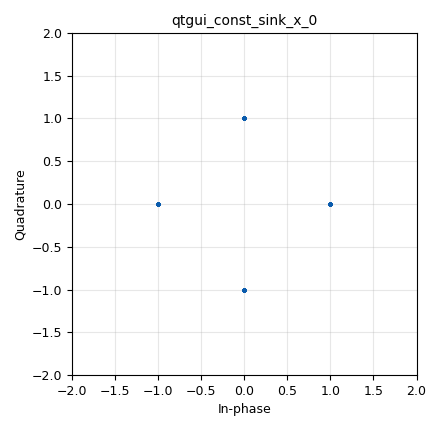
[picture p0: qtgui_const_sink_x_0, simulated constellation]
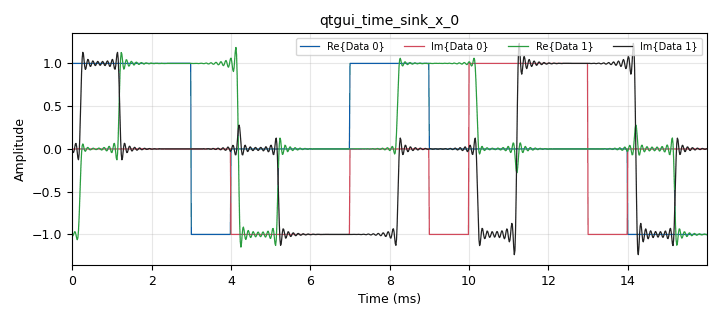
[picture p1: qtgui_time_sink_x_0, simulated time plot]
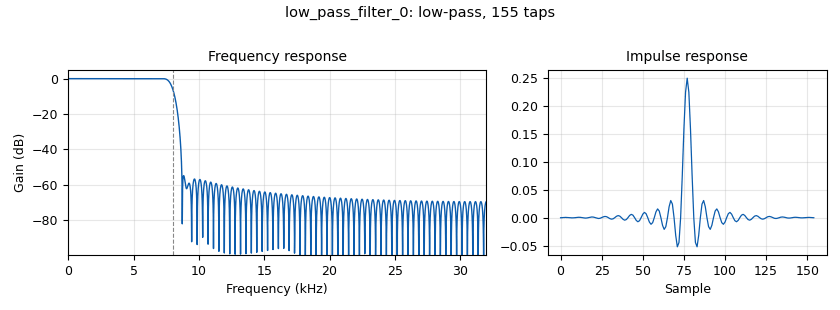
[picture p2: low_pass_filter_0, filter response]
options:
  parameters:
    author: ayyou
    generate_options: qt_gui
    id: PSK(Phase_shift_keying)
    output_language: python
    title: Not titled yet
  states: {}

blocks:
- name: Delay
  id: variable_qtgui_range
  parameters:
    label: Delay of input
    start: '0'
    step: '1'
    stop: '100'
    value: '0'
  states: {}
- name: N
  id: variable
  parameters:
    value: '4'
  states: {}
- name: carrier_frequency
  id: variable
  parameters:
    value: '8000'
  states: {}
- name: interpolating_factor
  id: variable
  parameters:
    value: samp_rate//1000
  states: {}
- name: samp_rate
  id: variable
  parameters:
    value: '64000'
  states: {}
- name: analog_random_source_x_0
  id: analog_random_source_x
  parameters:
    max: N
    min: '0'
    num_samps: '1024'
    repeat: 'True'
    type: int
  states: {}
- name: analog_sig_source_x_0
  id: analog_sig_source_x
  parameters:
    amp: '1.414213562'
    freq: carrier_frequency
    offset: '0'
    phase: '0'
    samp_rate: samp_rate
    type: complex
    waveform: analog.GR_COS_WAVE
  states: {}
- name: analog_sig_source_x_0_0
  id: analog_sig_source_x
  parameters:
    amp: '1.414213562'
    freq: carrier_frequency
    offset: '0'
    phase: '0'
    samp_rate: samp_rate
    type: float
    waveform: analog.GR_COS_WAVE
  states: {}
- name: analog_sig_source_x_0_1
  id: analog_sig_source_x
  parameters:
    amp: '-1.414213562'
    freq: carrier_frequency
    offset: '0'
    phase: '0'
    samp_rate: samp_rate
    type: float
    waveform: analog.GR_SIN_WAVE
  states: {}
- name: blocks_complex_to_real_0
  id: blocks_complex_to_real
  parameters: {}
  states: {}
- name: blocks_delay_0
  id: blocks_delay
  parameters:
    delay: Delay
    type: complex
  states: {}
- name: blocks_float_to_complex_0
  id: blocks_float_to_complex
  parameters: {}
  states: {}
- name: blocks_multiply_xx_0
  id: blocks_multiply_xx
  parameters:
    type: complex
  states: {}
- name: blocks_multiply_xx_0_0
  id: blocks_multiply_xx
  parameters:
    type: float
  states: {}
- name: blocks_multiply_xx_0_1
  id: blocks_multiply_xx
  parameters:
    type: float
  states: {}
- name: blocks_throttle2_0
  id: blocks_throttle2
  parameters:
    samples_per_second: samp_rate
    type: complex
  states: {}
- name: digital_chunks_to_symbols_xx_0
  id: digital_chunks_to_symbols_xx
  parameters:
    dimension: '1'
    in_type: int
    out_type: complex
    symbol_table: numpy.exp(1j*2*numpy.pi*(numpy.arange(N))/N)
  states: {}
- name: import_0
  id: import
  parameters:
    imports: import numpy
  states: {}
- name: interp_fir_filter_xxx_0
  id: interp_fir_filter_xxx
  parameters:
    interp: interpolating_factor
    taps: numpy.full(interpolating_factor,1)
    type: ccf
  states: {}
- name: low_pass_filter_0
  id: low_pass_filter
  parameters:
    cutoff_freq: carrier_frequency
    decim: '1'
    gain: '1'
    samp_rate: samp_rate
    type: fir_filter_fff
    width: '1000'
    win: window.WIN_HAMMING
  states: {}
- name: low_pass_filter_0_0
  id: low_pass_filter
  parameters:
    cutoff_freq: carrier_frequency
    decim: '1'
    gain: '1'
    samp_rate: samp_rate
    type: fir_filter_fff
    width: '1000'
    win: window.WIN_HAMMING
  states: {}
- name: qtgui_const_sink_x_0
  id: qtgui_const_sink_x
  parameters:
    size: '1024'
    type: complex
  states: {}
- name: qtgui_time_sink_x_0
  id: qtgui_time_sink_x
  parameters:
    autoscale: 'True'
    entags: 'False'
    grid: 'True'
    nconnections: '2'
    size: '1024'
    srate: samp_rate
    type: complex
  states: {}
- name: virtual_sink_0
  id: virtual_sink
  parameters:
    stream_id: baseband_singal
  states: {}
- name: virtual_source_0
  id: virtual_source
  parameters:
    stream_id: baseband_singal
  states: {}

connections:
- [analog_random_source_x_0, '0', digital_chunks_to_symbols_xx_0, '0']
- [analog_sig_source_x_0, '0', blocks_multiply_xx_0, '1']
- [analog_sig_source_x_0_0, '0', blocks_multiply_xx_0_1, '1']
- [analog_sig_source_x_0_1, '0', blocks_multiply_xx_0_0, '1']
- [blocks_complex_to_real_0, '0', blocks_multiply_xx_0_0, '0']
- [blocks_complex_to_real_0, '0', blocks_multiply_xx_0_1, '0']
- [blocks_delay_0, '0', qtgui_const_sink_x_0, '0']
- [blocks_delay_0, '0', qtgui_time_sink_x_0, '0']
- [blocks_float_to_complex_0, '0', qtgui_time_sink_x_0, '1']
- [blocks_multiply_xx_0, '0', blocks_complex_to_real_0, '0']
- [blocks_multiply_xx_0_0, '0', low_pass_filter_0, '0']
- [blocks_multiply_xx_0_1, '0', low_pass_filter_0_0, '0']
- [blocks_throttle2_0, '0', interp_fir_filter_xxx_0, '0']
- [digital_chunks_to_symbols_xx_0, '0', blocks_throttle2_0, '0']
- [interp_fir_filter_xxx_0, '0', blocks_delay_0, '0']
- [interp_fir_filter_xxx_0, '0', virtual_sink_0, '0']
- [low_pass_filter_0, '0', blocks_float_to_complex_0, '1']
- [low_pass_filter_0_0, '0', blocks_float_to_complex_0, '0']
- [virtual_source_0, '0', blocks_multiply_xx_0, '0']

metadata:
  file_format: 1
  grc_version: 3.10.12.0
